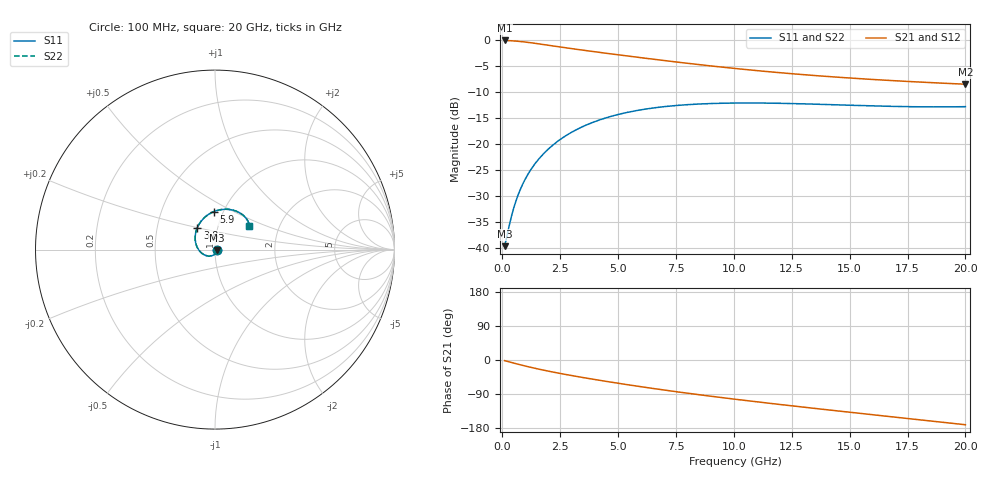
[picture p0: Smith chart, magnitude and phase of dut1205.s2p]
! Touchstone file exported from HFSS 2024.1.0
!  File:  C:/UserFiles/LocalFiles/RDL_TSV_Batchsim/temp_RDL_TSV_1205_1780258065.aedt
!  Generated:  04:23:03 AM Jun  1, 2026
!  Design:  RDL_TSV
!  Project:  temp_RDL_TSV_1205_1780258065
!  Setup:  Setup1
!  Solution:  Sweep
! Variables:
!  dtsv = 11.12um
!  hbump = 3um
!  htsv = 98.03um
!  ldown = 487um
!  lrdl = 156.86um
!  p = 40
!  p1 = 49.58um
!  rhole = 10um
!  subl = 2088.44um
!  t = 450um
!  tdown = 3.78um
!  trdl = 4.03um
!  viad = 10um
!  wdown = 21.55um
!  wrdl = 26.58um
!  xbump = 18um
# GHz S MA R 50.000000
! Terminal data exported
! Port[1] = TM1_1_T1
! Port[2] = TM1_4_T1
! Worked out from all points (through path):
!   200 points, 100 MHz to 20 GHz, reference 50 ohm
!   highest |S21| = -0.09 dB at 100 MHz (marker M1); lowest = -8.5 dB at 20 GHz (marker M2)
!   group delay of S21, straight-line fit = 22.2 ps
!   lowest |S11| = -39.7 dB at 100 MHz (marker M3), VSWR 1.02, Z = 50.9 - j0.495 ohm
!   |S11| at or under -10 dB: start of sweep to end of sweep
!   |S22| runs from -39.7 to -12.1 dB; largest |S21 - S12| = 2.2e-14
!   S11 on the Smith chart (normalised r, x): 100 MHz: 1.02, -0.01; 3.8 GHz: 0.80, +0.20; 5.9 GHz: 0.90, +0.40; 20 GHz: 1.40, +0.38
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0.1  0.01033 -28.1  0.99 -1.7  0.99 -1.7  0.01033 -28.1
! Gamma 0 0 0 0
! Port Impedance 50 0 50 0
0.4  0.0202 -80.2  0.9831 -6.7  0.9831 -6.7  0.0202 -80.2
0.6  0.02859 -99.9  0.9757 -9.9  0.9757 -9.9  0.02859 -99.9
0.7  0.03292 -108.0  0.9712 -11.5  0.9712 -11.5  0.03293 -108.0
0.9  0.04169 -122.2  0.961 -14.5  0.961 -14.5  0.0417 -122.2
1.2  0.05492 -140.2  0.9431 -18.9  0.9431 -18.9  0.05493 -140.3
1.7  0.07674 -165.1  0.9098 -25.8  0.9098 -25.8  0.07676 -165.1
2.2  0.09788 174.6  0.8761 -32.0  0.8761 -32.0  0.09791 174.6
2.8  0.1219 154.5  0.8378 -38.9  0.8378 -38.9  0.1219 154.5
3.5  0.1474 135.6  0.797 -46.5  0.797 -46.5  0.1475 135.6
3.8  0.1574 128.6  0.7806 -49.6  0.7806 -49.6  0.1575 128.6
4.8  0.1866 109.0  0.7299 -59.5  0.7299 -59.5  0.1867 109.0
5.9  0.211 92.3  0.6794 -69.7  0.6794 -69.7  0.2112 92.3
6.8  0.2255 81.2  0.6417 -77.6  0.6417 -77.6  0.2257 81.2
8.4  0.2412 65.9  0.5825 -90.9  0.5825 -90.9  0.2414 65.9
10.1  0.2471 54.1  0.5304 -103.9  0.5304 -103.9  0.2474 54.1
11.7  0.2462 46.0  0.4905 -115.4  0.4905 -115.4  0.2465 46.0
13.4  0.2414 40.0  0.4563 -127.1  0.4563 -127.1  0.2416 40.0
15  0.2354 36.4  0.4304 -137.8  0.4304 -137.8  0.2357 36.4
16.7  0.2298 34.5  0.408 -149.1  0.408 -149.1  0.2302 34.5
18.3  0.227 34.1  0.3906 -159.6  0.3906 -159.6  0.2273 34.1
20  0.228 34.5  0.3752 -170.8  0.3752 -170.8  0.2283 34.5
